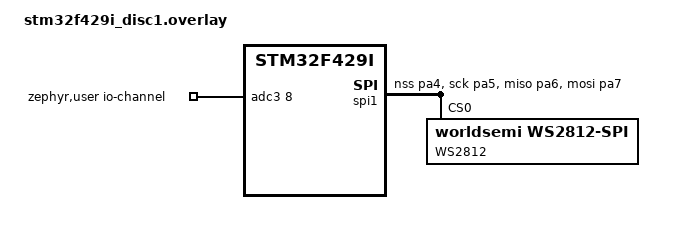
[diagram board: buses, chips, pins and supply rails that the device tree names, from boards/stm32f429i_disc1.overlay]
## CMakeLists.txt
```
# SPDX-License-Identifier: Apache-2.0

cmake_minimum_required(VERSION 3.20.0)

find_package(Zephyr REQUIRED HINTS $ENV{ZEPHYR_BASE})
project(feelights)

FILE(GLOB app_sources src/*.c)
target_sources(app PRIVATE ${app_sources})
```

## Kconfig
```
# Copyright (c) 2021 Nordic Semiconductor ASA
# SPDX-License-Identifier: Apache-2.0

# This Kconfig file is picked by the Zephyr build system because it is defined
# as the module Kconfig entry point (see zephyr/module.yml). You can browse
# module options by going to Zephyr -> Modules in Kconfig.
```

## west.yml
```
# Copyright (c) 2021 Nordic Semiconductor ASA
# SPDX-License-Identifier: Apache-2.0

manifest:
  self:
    path: feelights

  remotes:
    - name: zephyrproject-rtos
      url-base: https://github.com/zephyrproject-rtos      

  projects:
    - name: zephyr
      remote: zephyrproject-rtos
      revision: main
      import: true
```

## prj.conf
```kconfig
CONFIG_POLL=y
CONFIG_LOG=y
CONFIG_SPI=y
CONFIG_SPI_STM32=y
CONFIG_SPI_STM32_DMA=y
CONFIG_LED_STRIP=y
CONFIG_LED_STRIP_LOG_LEVEL_DBG=y
CONFIG_WS2812_STRIP=y
CONFIG_NEWLIB_LIBC=y
CONFIG_CMSIS_DSP=y
CONFIG_CMSIS_DSP_COMPLEXMATH=y
CONFIG_CMSIS_DSP_TRANSFORM=y

CONFIG_TIMING_FUNCTIONS=n

# CONFIG_USE_STM32_HAL_ADC=y
# CONFIG_USE_STM32_HAL_ADC_EX=y
# CONFIG_USE_STM32_HAL_DMA=y
# CONFIG_USE_STM32_HAL_DMA_EX=y
# CONFIG_USE_STM32_HAL_GPIO=y
# CONFIG_USE_STM32_HAL_CORTEX=y
```

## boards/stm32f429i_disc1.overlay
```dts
/*
 * Copyright (c) 2019, Nordic Semiconductor ASA
 *
 * SPDX-License-Identifier: Apache-2.0
 */

#include <dt-bindings/led/led.h>

#include "../stm32f429i-bindings.h"

&spi1 { /* MOSI on PA7 */
	led_strip: ws2812@0 {
		compatible = "worldsemi,ws2812-spi";
		label = "WS2812";

		/* SPI */
		reg = <0>; /* ignored, but necessary for SPI bindings */
		spi-max-frequency = <SPI_FREQ>;

		/* WS2812 */
		chain-length = <30>; /* arbitrary; change at will */
		color-mapping = <LED_COLOR_ID_GREEN
				 LED_COLOR_ID_RED
				 LED_COLOR_ID_BLUE>;
		spi-one-frame = <ONE_FRAME>;
		spi-zero-frame = <ZERO_FRAME>;
	};

   dmas = <&dma2 5 3 0x28440 0x03>,
          <&dma2 2 3 0x28480 0x03>;
   dma-names = "tx", "rx";

	pinctrl-0 = <&spi1_nss_pa4 &spi1_sck_pa5
		     &spi1_miso_pa6 &spi1_mosi_pa7>;
	pinctrl-names = "default";
	status = "okay";
};

&dma2 {
   status = "okay";
};

/ {
	aliases {
		led-strip = &led_strip;
		mic-dma = &dma2;
	};

	zephyr,user {
		/* adjust channel number according to pinmux in board.dts */
		io-channels = <&adc3 8>;
	};
};
```

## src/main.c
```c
#include <errno.h>
#include <string.h>

#define LOG_LEVEL 4
#include <logging/log.h>
LOG_MODULE_REGISTER(main);

#include <zephyr.h>
#include "fl_audioin.h"
#include "fl_events.h"
#include "fl_strip.h"
#include "fl_dsp.h"
#include "fl_lights.h"
#include "fl_button.h"

#ifdef CONFIG_TIMING_FUNCTIONS
#include <timing/timing.h>
/* TODO(kleindan)
 * Also we need a west.yml file for easier building in the future: https://github.com/kpochwala/kubot-software/blob/main/west.yml
 *
 * Samples:    11648299ns
 * Fft:        11079338ns
 * Update:       410983ns
 * Pixel:       2454577ns
 * Total       25593201ns
 */

#endif

#define NUM_SAMPLES (1024)
#define SAMPLE_INDEX_MASK  ((NUM_SAMPLES * 2) - 1)
#define NUM_OF_PIXELS (30)

internal int16_t SampleBuffer[2*NUM_SAMPLES];
internal f32 FftInput[NUM_SAMPLES];
internal f32 FftComplex[NUM_SAMPLES];
internal f32 FftOut[NUM_SAMPLES/2];
internal pixel *Pixels;

#ifdef CONFIG_TIMING_FUNCTIONS
internal uint64_t TotalCycles = 0, TotalNs = 0;
internal uint64_t SamplesCycles = 0, SamplesNs = 0;
internal uint64_t FftCycles = 0, FftNs = 0;
internal uint64_t UpdateCycles = 0, UpdateNs = 0;
internal uint64_t PixelPushCycles = 0, PixelPushNs = 0;
internal timing_t TStart, TSamplesReady, TFftDone, TUpdateDone, TPixelPushed;
internal u32 TimingCount = 0;
#endif

typedef enum {
   MODE_NORMAL,
   MODE_INSPECTION,
   MODE_BROWNOUT,
   MODE_MAX
} fl_system_mode;


internal void           ModeNormalOnEnter();
internal fl_system_mode ModeNormalOnEvent(fl_event Event);
internal void           ModeNormalOnLeave();

internal void           ModeInspectionOnEnter();
internal fl_system_mode ModeInspectionOnEvent(fl_event Event);
internal void           ModeInspectionOnLeave();

internal void           ModeBrownOutOnEnter();
internal fl_system_mode ModeBrownOutOnEvent(fl_event Event);
internal void           ModeBrownOutOnLeave();

typedef fl_system_mode (*mode_event_handler_t)(fl_event);
typedef void (*mode_enter_handler_t)();
typedef void (*mode_leave_handler_t)();

typedef struct {
   mode_enter_handler_t OnEnter;
   mode_event_handler_t OnEvent;
   mode_leave_handler_t OnLeave;
} mode_functions;

internal u32 ModeTimeouts[MODE_MAX] = {
   60,
   0,
   2000
};

internal mode_functions ModeHandlers[MODE_MAX] = {
   {
      .OnEnter = ModeNormalOnEnter,
      .OnEvent = ModeNormalOnEvent,
      .OnLeave = ModeNormalOnLeave,
   },
   {
      .OnEnter = ModeInspectionOnEnter,
      .OnEvent = ModeInspectionOnEvent,
      .OnLeave = ModeInspectionOnLeave,
   },
   {
      .OnEnter = ModeBrownOutOnEnter,
      .OnEvent = ModeBrownOutOnEvent,
      .OnLeave = ModeBrownOutOnLeave,
   },
};

internal void ModeInspectionOnEnter()
{
   static const pixel RED = {
      .Color = {
         .r = 0xff,
      },
   };

   for (int I = 0; I < NUM_OF_PIXELS; ++I)
   {
      Pixels[I].Dword = RED.Dword;
   }

   StripOutput(Pixels, NUM_OF_PIXELS);
   Pixels = StripSwapBuffer(Pixels);
}

internal fl_system_mode ModeInspectionOnEvent(fl_event Event)
{
   fl_system_mode NextMode = MODE_INSPECTION;

   static const pixel GREEN_BLUE[2] = {
      {
         .Color = {
            .g = 0xff,
         },
      },
      {
         .Color = {
            .b = 0xff,
         },
      },
   };
   static u32 CurrentColor = 0;

   switch (Event)
   {
      case EV_PERIODIC_FRAME:
         break;
      case EV_AUDIO_SAMPLES_AVAILABLE:
         break;
      case EV_BUTTON_PRESSED:
         break;
      case EV_BUTTON_RELEASED:
         if (CurrentColor >= 2)
         {
            NextMode = MODE_BROWNOUT;
            CurrentColor = 0;
         }
         else
         {
            for (int I = 0; I < NUM_OF_PIXELS; ++I)
            {
               Pixels[I].Dword = GREEN_BLUE[CurrentColor].Dword;
            }
            CurrentColor++;

            StripOutput(Pixels, NUM_OF_PIXELS);
            Pixels = StripSwapBuffer(Pixels);
         }
         break;
      default:
         break;
   }

   return NextMode;
}

internal void ModeInspectionOnLeave()
{
   /* Nothing to do really? */
}

internal void ModeBrownOutOnEnter()
{
   static const pixel ALL = {
      .Color = {
         .r = 0xff,
         .g = 0xff,
         .b = 0xff,
      },
   };

   for (int I = 0; I < NUM_OF_PIXELS; ++I)
   {
      Pixels[I].Dword = ALL.Dword;
   }
   Pixels = StripSwapBuffer(Pixels);
   for (int I = 0; I < NUM_OF_PIXELS; ++I)
   {
      if ((I % 2) == 0)
      {
         Pixels[I].Dword = ALL.Dword;
      }
      else
      {
         Pixels[I].Dword = 0;
      }
   }

   Pixels = StripSwapBuffer(Pixels);
   StripOutput(Pixels, NUM_OF_PIXELS);
   Pixels = StripSwapBuffer(Pixels);

   EventsStartPeriodicEvent(1000);
}

internal fl_system_mode ModeBrownOutOnEvent(fl_event Event)
{
   fl_system_mode NextMode = MODE_BROWNOUT;

   switch (Event)
   {
      case EV_PERIODIC_FRAME:
         StripOutput(Pixels, NUM_OF_PIXELS);
         Pixels = StripSwapBuffer(Pixels);
         break;
      case EV_AUDIO_SAMPLES_AVAILABLE:
         break;
      case EV_BUTTON_PRESSED:
         break;
      case EV_BUTTON_RELEASED:
         NextMode = MODE_NORMAL;
         break;
      default:
         break;
   }

   return NextMode;
}

internal void ModeBrownOutOnLeave()
{
   EventsStopPeriodicEvent();
}

internal void ModeNormalOnEnter()
{
#ifdef CONFIG_TIMING_FUNCTIONS
   timing_init();
   timing_start();
   TStart = timing_counter_get();
#endif
   for (int I = 0; I < NUM_OF_PIXELS; ++I)
   {
      Pixels[I].Dword = 0;
   }
   StripOutput(Pixels, NUM_OF_PIXELS);
   Pixels = StripSwapBuffer(Pixels);
   AudioInStart();

}
internal void ModeNormalOnLeave()
{
   AudioInStop();
#ifdef CONFIG_TIMING_FUNCTIONS
   timing_stop();
#endif
}

internal inline fl_system_mode ModeNormalOnEvent(fl_event Event)
{
   static u32 AudioSampleIndex = 0;
   fl_system_mode NextMode = MODE_NORMAL;

   switch (Event)
   {
      case EV_PERIODIC_FRAME:
         break;
      case EV_AUDIO_SAMPLES_AVAILABLE:
#ifdef CONFIG_TIMING_FUNCTIONS
         TSamplesReady = timing_counter_get();
#endif
         DspNormalizeSamples(&SampleBuffer[AudioSampleIndex], NUM_SAMPLES, FftInput);
         DspCalculateSpectrum(FftInput, NUM_SAMPLES, FftComplex, FftOut);
         AudioSampleIndex = (AudioSampleIndex + NUM_SAMPLES) & SAMPLE_INDEX_MASK;
#ifdef CONFIG_TIMING_FUNCTIONS
         TFftDone = timing_counter_get();
#endif

         LightsUpdateAndRender(Pixels, NUM_OF_PIXELS, FftOut, NUM_SAMPLES);
#ifdef CONFIG_TIMING_FUNCTIONS
         TUpdateDone = timing_counter_get();
#endif

         StripOutput(Pixels, NUM_OF_PIXELS);
         Pixels = StripSwapBuffer(Pixels);
#ifdef CONFIG_TIMING_FUNCTIONS
         TPixelPushed = timing_counter_get();
         timing_stop();
#endif
#ifdef CONFIG_TIMING_FUNCTIONS
         SamplesCycles     = timing_cycles_get(&TStart, &TSamplesReady);
         FftCycles         = timing_cycles_get(&TSamplesReady, &TFftDone);
         UpdateCycles      = timing_cycles_get(&TFftDone, &TUpdateDone);
         PixelPushCycles   = timing_cycles_get(&TUpdateDone, &TPixelPushed);
         TotalCycles       = timing_cycles_get(&TStart, &TPixelPushed);

         SamplesNs        += timing_cycles_to_ns(SamplesCycles);
         FftNs            += timing_cycles_to_ns(FftCycles);
         UpdateNs         += timing_cycles_to_ns(UpdateCycles);
         PixelPushNs      += timing_cycles_to_ns(PixelPushCycles);
         TotalNs          += timing_cycles_to_ns(TotalCycles);

         TimingCount = (TimingCount + 1) & 0xFF;
         if (0 == TimingCount)
         {
            SamplesNs    >>= 8;
            FftNs        >>= 8;
            UpdateNs     >>= 8;
            PixelPushNs  >>= 8;
            TotalNs      >>= 8;

            LOG_INF("Samples: %lldns, Fft: %lldns, Update: %lldns, Pixel: %lldns, Total %lldns", SamplesNs, FftNs, UpdateNs, PixelPushNs, TotalNs);

            SamplesNs    = 0;
            FftNs        = 0;
            UpdateNs     = 0;
            PixelPushNs  = 0;
            TotalNs      = 8;
         }

         timing_start();
         TStart = timing_counter_get();
#endif
         break;
      case EV_BUTTON_PRESSED:
         break;
      case EV_BUTTON_RELEASED:
         NextMode = MODE_INSPECTION;
         break;
      default:
         break;
   }

   return NextMode;
}

void main(void)
{
   Pixels = StripGetBuffer();

   EventsInit();
   StripInit();
   LightsInit();
   ButtonInit();
   AudioInInit(SampleBuffer, sizeof(SampleBuffer));

   StripOutput(Pixels, NUM_OF_PIXELS);
   Pixels = StripSwapBuffer(Pixels);

   fl_system_mode CurrentMode = MODE_NORMAL;
   ModeHandlers[CurrentMode].OnEnter();

	while (1) {
      fl_event Event = WaitForEvent(ModeTimeouts[CurrentMode]);

      fl_system_mode NextMode = ModeHandlers[CurrentMode].OnEvent(Event);

      if (NextMode != CurrentMode)
      {
         ModeHandlers[CurrentMode].OnLeave();
         CurrentMode = NextMode;
         ModeHandlers[CurrentMode].OnEnter();
      }
	}
}
```

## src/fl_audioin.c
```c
#include "fl_common.h"
#include "fl_audioin.h"

#include "zephyr.h"
#include <drivers/adc.h>
#include <drivers/dma.h>
#include <drivers/dma/dma_stm32.h>
#include <device.h>

#include "stm32f4xx_ll_adc.h"
#include "stm32f4xx_ll_bus.h"
#include "stm32f4xx_ll_dma.h"
#include "stm32f4xx_ll_gpio.h"
#include "stm32f4xx_ll_rcc.h"
#include "stm32f4xx_ll_tim.h"

#define LOG_LEVEL 4
#include <logging/log.h>
LOG_MODULE_REGISTER(audioin);

internal void AdcDmaConfig(u16* Data, u32 size);
internal inline void ActivateAdc(ADC_TypeDef* Adc);
internal inline void EnableAdcChannel(ADC_TypeDef* Adc, u32 Channel, u32 Rank);
internal inline void StartAdc(ADC_TypeDef* Adc);
internal inline void StopAdc(ADC_TypeDef* Adc);
internal void AdcConfig(ADC_TypeDef* Adc, uint32_t TimerTriggerId, uint32_t AdcPeriphId);
internal void Adc3Init(u16* Data, u32 BufferSize);

#define DMA_NODE		DT_ALIAS(mic_dma)
internal const struct device *DmaDevice = DEVICE_DT_GET(DMA_NODE);

internal void TIM2IrqHandler()
{
   if (LL_TIM_IsActiveFlag_UPDATE(TIM2) == 1)
   {
      // Clear the update interrupt flag
      LL_TIM_ClearFlag_UPDATE(TIM2);
   }
}

internal void ADCIrqHandler()
{
   if (LL_ADC_IsActiveFlag_OVR(ADC1) != 0)
   {
      LL_ADC_ClearFlag_OVR(ADC1);
      LOG_ERR("ADC1 overdflow");
   }

   if (LL_ADC_IsActiveFlag_OVR(ADC2) != 0)
   {
      LL_ADC_ClearFlag_OVR(ADC2);
      LOG_ERR("ADC2 overdflow");
   }

   if (LL_ADC_IsActiveFlag_OVR(ADC3) != 0)
   {
      LL_ADC_ClearFlag_OVR(ADC3);
      LOG_ERR("ADC3 overdflow");
   }
}

u32 AudioInInit(u16* Buffer, u32 BufferSize)
{
   // Timer config 
   u32 Tim2ClockFrequency = 200000;
   u32 SamplingFrequency = 40000;
   u32 TimerClock = CONFIG_SYS_CLOCK_HW_CYCLES_PER_SEC / 2;
   u32 Result = 0;

   LL_APB1_GRP1_EnableClock(LL_APB1_GRP1_PERIPH_TIM2);
   LL_TIM_SetPrescaler(TIM2, __LL_TIM_CALC_PSC(TimerClock, Tim2ClockFrequency));
   LL_TIM_SetAutoReload(TIM2, __LL_TIM_CALC_ARR(TimerClock, LL_TIM_GetPrescaler(TIM2), SamplingFrequency));

   IRQ_CONNECT(TIM2_IRQn, 0, TIM2IrqHandler, NULL, 0);
   irq_enable(TIM2_IRQn);

   Adc3Init(Buffer, BufferSize);

   LL_AHB1_GRP1_EnableClock(LL_AHB1_GRP1_PERIPH_GPIOF);
   LL_GPIO_SetPinMode(GPIOF, LL_GPIO_PIN_10, LL_GPIO_MODE_ANALOG);

   EnableAdcChannel(ADC3, LL_ADC_CHANNEL_8, LL_ADC_REG_RANK_1);

   StartAdc(ADC3);
   LL_TIM_EnableCounter(TIM2);
   LL_TIM_GenerateEvent_UPDATE(TIM2);

   return Result;
}

internal void DmaCallback(const struct device *Dev, void *UserData, uint32_t Channel, int Status)
{
   EventEmit(EV_AUDIO_SAMPLES_AVAILABLE);
}

internal void AdcDmaConfig(u16* Data, u32 BufferSize)
{
   int ReturnCode = 0;

   struct dma_block_config BlockConfig = {
      .source_address = LL_ADC_DMA_GetRegAddr(ADC3, LL_ADC_DMA_REG_REGULAR_DATA),
      .dest_address = (u32)Data,
      .source_gather_interval = 0,
      .dest_scatter_interval = 0,
      .dest_scatter_count = 0,
      .source_gather_count = 0,
      .block_size = BufferSize,
      .next_block = NULL,
      .source_gather_en = 0,
      .dest_scatter_en = 0,
      .source_addr_adj = DMA_ADDR_ADJ_NO_CHANGE,
      .dest_addr_adj = DMA_ADDR_ADJ_INCREMENT,
      .source_reload_en = 1,
      .dest_reload_en = 1,
      .fifo_mode_control = 0,
      .flow_control_mode = 0,
   };
   struct dma_config DevConfig = {
      .dma_slot = 2,
      .channel_direction = PERIPHERAL_TO_MEMORY,
      .complete_callback_en = 1,
      .error_callback_en = 1,
      .source_handshake = 0, /* HW, probably ignored param */
      .dest_handshake = 1, /* SW, probably ignored param */
      .channel_priority = 0x0, /* Low prio, tbd if this is ok */
      .source_chaining_en = 0, /* ignored? */
      .dest_chaining_en = 0, /* ignored? */
      .linked_channel = 0, /* ignored? */
      .source_data_size = 2,
      .dest_data_size = 2,
      .source_burst_length = 1,
      .dest_burst_length = 1,
      .block_count = 1,
      .user_data = NULL,
      .dma_callback = DmaCallback,
      .head_block = &BlockConfig,
   };

   ReturnCode = dma_config(DmaDevice, 1, &DevConfig);
   if (ReturnCode != 0)
   {
      LOG_ERR("Dma config failed %d", ReturnCode);
   }
   ReturnCode = dma_start(DmaDevice, 1);
   if (ReturnCode != 0)
   {
      LOG_ERR("Dma start failed %d", ReturnCode);
   }

}

#if 0
internal void AdcDmaConfig(u16* Data, u32 Size)
{
   // Configuration of NVIC
   // Configure NVIC to enable DMA interruptions
   IRQ_CONNECT(DMA2_Stream1_IRQn, 0, DMA2Stream1IrqHandler, NULL, 0);
   irq_enable(DMA2_Stream1_IRQn);
   /*
   NVIC_SetPriority(DMA2_Stream1_IRQn, 1);  // DMA IRQ lower priority than ADC IRQ
   NVIC_EnableIRQ(DMA2_Stream1_IRQn);
   */

   // Configuration of DMA
   // Enable the peripheral clock of DMA
   LL_AHB1_GRP1_EnableClock(LL_AHB1_GRP1_PERIPH_DMA2);

   LL_DMA_SetChannelSelection(DMA2, LL_DMA_STREAM_1, LL_DMA_CHANNEL_2);

   // Configure the DMA transfer
   //    - DMA transfer in circular mode to match with ADC configuration:
   //      DMA unlimited requests.
   //    - DMA transfer from ADC without address increment.
   //    - DMA transfer to memory with address increment.
   //    - DMA transfer from ADC by half-word to match with ADC configuration:
   //      ADC resolution 12 bits.
   //    - DMA transfer to memory by half-word to match with ADC conversion data
   //      buffer variable type: half-word.

   LL_DMA_ConfigTransfer(
         DMA2,
         LL_DMA_STREAM_1,
         LL_DMA_DIRECTION_PERIPH_TO_MEMORY |
         LL_DMA_MODE_CIRCULAR              |
         LL_DMA_PERIPH_NOINCREMENT         |
         LL_DMA_MEMORY_INCREMENT           |
         LL_DMA_PDATAALIGN_HALFWORD        |
         LL_DMA_MDATAALIGN_HALFWORD        |
         LL_DMA_PRIORITY_HIGH
         );

   // Set DMA transfer addresses of source and destination
   LL_DMA_ConfigAddresses(
         DMA2,
         LL_DMA_STREAM_1,
         LL_ADC_DMA_GetRegAddr(ADC3, LL_ADC_DMA_REG_REGULAR_DATA),
         (uint32_t)Data,
         LL_DMA_DIRECTION_PERIPH_TO_MEMORY
         );

   // Set DMA transfer size
   LL_DMA_SetDataLength(DMA2, LL_DMA_STREAM_1, Size);

   // Enable DMA transfer interruption: transfer complete
   LL_DMA_EnableIT_TC(DMA2, LL_DMA_STREAM_1);

   // Enable DMA transfer interruption: half transfer
   LL_DMA_EnableIT_HT(DMA2, LL_DMA_STREAM_1);

   // Enable DMA transfer interruption: transfer error
   LL_DMA_EnableIT_TE(DMA2, LL_DMA_STREAM_1);

   // Activation of DMA
   // Enable the DMA transfer
   LL_DMA_EnableStream(DMA2, LL_DMA_STREAM_1);
}
#endif

internal inline void ActivateAdc(ADC_TypeDef* Adc)
{
   // ADC must be disabled at this point
   if (LL_ADC_IsEnabled(Adc) != 0)
   {
      LOG_ERR("ADC should not be already eanbled");
   }

   // Enable ADC
   LL_ADC_Enable(Adc);
}

internal inline void EnableAdcChannel(ADC_TypeDef* Adc, u32 Channel, u32 Rank)
{
   // Set ADC group regular sequence: Channel on the selected sequence Rank.
   LL_ADC_REG_SetSequencerRanks(Adc, Rank, Channel);
   LL_ADC_SetChannelSamplingTime(Adc, Channel, LL_ADC_SAMPLINGTIME_15CYCLES);
}

internal inline void StartAdc(ADC_TypeDef* Adc)
{
   if (LL_ADC_IsEnabled(Adc))
   {
      LL_ADC_REG_StartConversionExtTrig(Adc, LL_ADC_REG_TRIG_EXT_RISING);
   }
}

internal inline void StopAdc(ADC_TypeDef* Adc)
{
   if (LL_ADC_IsEnabled(Adc))
   {
      LL_ADC_REG_StopConversionExtTrig(Adc);
   }
}

internal void AdcConfig(
      ADC_TypeDef* Adc,
      uint32_t TimerTriggerId,
      uint32_t AdcPeriphId
   )
{
   // Configuration of NVIC
   // Configure NVIC to enable ADC interruptions
   IRQ_CONNECT(ADC_IRQn, 0, ADCIrqHandler, NULL, 0);
   irq_enable(ADC_IRQn);

   // Enable ADC clock (core clock)
   LL_APB2_GRP1_EnableClock(AdcPeriphId);

   static bool AdcCommonInitialized = false;

   if (!AdcCommonInitialized)
   {
      // ADC common instance must not be enabled at this point
      if (__LL_ADC_IS_ENABLED_ALL_COMMON_INSTANCE() != 0)
      {
         LOG_ERR("ADC Common instance already initialized");
      }

      // Set ADC clock (conversion clock) common to several ADC instances
      LL_ADC_SetCommonClock(__LL_ADC_COMMON_INSTANCE(Adc), LL_ADC_CLOCK_SYNC_PCLK_DIV2);

      AdcCommonInitialized = true;
   }

   // ADC must not be enabled at this point
   if (LL_ADC_IsEnabled(Adc) != 0)
   {
      LOG_ERR("ADC should not be enabled yet");
   }

   // Set ADC data resolution
   LL_ADC_SetResolution(Adc, LL_ADC_RESOLUTION_12B);

   // Set ADC conversion data alignment
   LL_ADC_SetResolution(Adc, LL_ADC_DATA_ALIGN_RIGHT);

   // Set Set ADC sequencers scan mode, for all ADC groups
   // (group regular, group injected).
   LL_ADC_SetSequencersScanMode(Adc, LL_ADC_SEQ_SCAN_DISABLE);

   // Set ADC group regular trigger source
   LL_ADC_REG_SetTriggerSource(Adc, TimerTriggerId);

   // Set ADC group regular trigger polarity
   // LL_ADC_REG_SetTriggerEdge(Adc, LL_ADC_REG_TRIG_EXT_RISING);

   // Set ADC group regular continuous mode
   LL_ADC_REG_SetContinuousMode(Adc, LL_ADC_REG_CONV_SINGLE);

   // Set ADC group regular conversion data transfer
   LL_ADC_REG_SetDMATransfer(Adc, LL_ADC_REG_DMA_TRANSFER_UNLIMITED);

   // Set ADC group regular sequencer length and scan direction
   LL_ADC_REG_SetSequencerLength(Adc, LL_ADC_REG_SEQ_SCAN_DISABLE);

   // Set ADC group regular sequencer discontinuous mode
   // LL_ADC_REG_SetSequencerDiscont(Adc, LL_ADC_REG_SEQ_DISCONT_DISABLE);

   // Enable interruption ADC group regular overrun
   LL_ADC_EnableIT_OVR(Adc);
}

internal void Adc3Init(u16* Data, u32 BufferSize)
{
   AdcDmaConfig(Data, BufferSize);

   AdcConfig(ADC3, LL_ADC_REG_TRIG_EXT_TIM2_TRGO, LL_APB2_GRP1_PERIPH_ADC3);

   ActivateAdc(ADC3);

   // Set timer the trigger output (TRGO)
   LL_TIM_SetTriggerOutput(TIM2, LL_TIM_TRGO_UPDATE);
}
```

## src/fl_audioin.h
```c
#ifndef FL_AUDIOIN_H__
#define FL_AUDIOIN_H__

#include "fl_common.h"
#include "fl_events.h"

u32 AudioInInit(u16* Buffer, u32 BufferSize);
u32 AudioInStart();
u32 AudioInStop();

#endif // FL_AUDIOIN_H__
```

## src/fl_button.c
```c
#include "fl_common.h"
#include "fl_button.h"
#include "fl_events.h"

#include <zephyr.h>
#include <device.h>
#include <drivers/gpio.h>

#define LOG_LEVEL 4
#include <logging/log.h>
LOG_MODULE_REGISTER(button);

/*
 * Get button configuration from the devicetree sw0 alias. This is mandatory.
 */
#define SW0_NODE DT_ALIAS(sw0)
#if !DT_NODE_HAS_STATUS(SW0_NODE, okay)
#error "Unsupported board: sw0 devicetree alias is not defined"
#endif

internal const struct gpio_dt_spec ButtonSpec = GPIO_DT_SPEC_GET_OR(SW0_NODE, gpios, {0});
internal struct gpio_callback ButtonCbData;
internal struct k_timer DebounceTimer;

internal void PressReleaseHandler(struct k_timer *dummy)
{
   EventEmit(ButtonIsPressed() ? EV_BUTTON_PRESSED : EV_BUTTON_RELEASED);
}

internal void ButtonChangeHandler(const struct device *dev, struct gpio_callback *cb, uint32_t pins)
{
   /* wait for level to stabilize, starting a running timer will reset it */
   k_timer_start(&DebounceTimer, K_MSEC(5), K_NO_WAIT);
}

u32 ButtonInit()
{
	int init_error = 0;

	if (!device_is_ready(ButtonSpec.port)) {
		LOG_ERR("button device %s is not ready", ButtonSpec.port->name);
	}

   if (!init_error)
   {
      init_error = gpio_pin_configure_dt(&ButtonSpec, GPIO_INPUT);
      if (init_error) {
         LOG_ERR("%d: failed to configure %s pin %d", init_error, ButtonSpec.port->name, ButtonSpec.pin);
      }
   }

   if (!init_error)
   {
      init_error = gpio_pin_interrupt_configure_dt(&ButtonSpec, GPIO_INT_EDGE_BOTH);
      if (init_error) {
         LOG_ERR("%d: failed to configure interrupt on %s pin %d", init_error, ButtonSpec.port->name, ButtonSpec.pin);
      }
   }

   if (!init_error)
   {
      gpio_init_callback(&ButtonCbData, ButtonChangeHandler, BIT(ButtonSpec.pin));
      gpio_add_callback(ButtonSpec.port, &ButtonCbData);
      LOG_INF("Set up button at %s pin %d", ButtonSpec.port->name, ButtonSpec.pin);
   }

   k_timer_init(&DebounceTimer, PressReleaseHandler, NULL);

   return init_error;
}

bool ButtonIsPressed()
{
   int State = gpio_pin_get_dt(&ButtonSpec);

   if (State < 0) {
      LOG_ERR("Error %d: reading state of %s pin %d", State, ButtonSpec.port->name, ButtonSpec.pin);
      return false;
   } 

   return State == 0;
}
```

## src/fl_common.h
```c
#ifndef FL_COMMON_H__
#define FL_COMMON_H__

#include <arm_math.h>

typedef unsigned char      u8;
typedef unsigned short     u16;
typedef unsigned int       u32;
typedef          char      i8;
typedef          int       i32;
typedef          float32_t f32;

#define ArrayCount(Array) (sizeof(Array)/sizeof(Array[0]))

#define Maximum(A, B) ((A) < (B) ? (B) : (A))
#define Minimum(A, B) ((A) < (B) ? (A) : (B))

#define internal static

internal inline f32 Square(f32 A) {
   return A*A;
}

internal inline f32 Abs(f32 A) {
   return A >= 0 ? A : -A;
}

internal inline f32 Clamp(f32 Min, f32 A, f32 Max) {
   return Maximum(Minimum(A, Max), Min);
}

internal inline i32 Round(f32 A) {
   return (i32)(A + 0.5f);
}

internal inline f32 Lerp(f32 A, f32 t, f32 B) {
   return (1 - t) * A + t * B;
}

internal inline f32 Sine(f32 V) {
   return arm_sin_f32(V);
}

#endif
```

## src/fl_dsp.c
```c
#include "fl_common.h"
#include "fl_dsp.h"
#include "arm_math.h"

#define LOG_LEVEL 4
#include <logging/log.h>
LOG_MODULE_REGISTER(dsp);


u32 DspCalculateSpectrum(f32 *Input, u32 NumSamples, f32 *IntermediateBuffer, f32 *Output)
{
   const f32 FfftScalingFactor = 1.0f / 453.352f;
   arm_rfft_fast_instance_f32 fft;

   arm_rfft_fast_init_f32(&fft, NumSamples);
   arm_rfft_fast_f32(&fft, Input, IntermediateBuffer, 0);
   arm_cmplx_mag_f32(IntermediateBuffer, Output, NumSamples/2);

   static f32 MaxSpectrum = -32000.0f;
   static f32 MinSpectrum = 32000.0f;
   for (int i = 1; i < NumSamples/2; ++i)
   {
      Output[i] *= FfftScalingFactor;
      if (Output[i] > MaxSpectrum) MaxSpectrum = Output[i];
      if (Output[i] < MinSpectrum) MinSpectrum = Output[i];
   }
#if 0
   static u32 DebugCount = 0;
   if (DebugCount++ > 100)
   {
      LOG_INF("MinS: %d, MaxS: %d:", (i32)(MinSpectrum * 1000.0f), (i32)(MaxSpectrum * 1000.0f));
      DebugCount = 0;
   }
#endif
   

   /* TODO(kleindan) Check for error from CMSIS */
   return 0;
}

u32 DspNormalizeSamples(u16 *RawSamples, u32 NumSamples, f32 *Output)
{
   u16 MinSample = 0xffff;
   u16 MaxSample = 0x0000;
   u32 SamplesSum = 0;
   f32 MinSampleF = 0.0f;
   f32 MaxSampleF = 0.0f;
   f32 Mean = 0;

   for (int i = 0; i < NumSamples; ++i)
   {
      SamplesSum += RawSamples[i];
      if (RawSamples[i] < MinSample) MinSample = RawSamples[i];
      if (RawSamples[i] > MaxSample) MaxSample = RawSamples[i];
   }
   Mean = ((f32) SamplesSum) / ((f32) NumSamples);

#if 0
   static u32 DebugCount = 0;
   if (DebugCount++ > 100)
   {
      LOG_INF("Min: %d, Max: %d:, Mean %d", MinSample, MaxSample, (u32)(Mean * 1000.f));
      DebugCount = 0;
   }
#endif

   u16 RangeLo = (u16)Mean - MinSample;
   u16 RangeHi = MaxSample - (u16)Mean;
   u16 Range = Maximum(RangeLo, RangeHi);
   f32 NormalizationFactor = 1.0/Clamp(800.0f, (f32)Range, 2048);
   for (int i = 0; i < NumSamples; ++i)
   {
      Output[i] = NormalizationFactor * (((f32) RawSamples[i]) - Mean);
      if (Output[i] < MinSampleF) MinSampleF = Output[i];
      if (Output[i] > MaxSampleF) MaxSampleF = Output[i];
   }
#if 0
   static u32 DebugCount = 0;
   if (DebugCount++ > 100)
   {
      LOG_INF("Minf: %d, Maxf: %d:", (i32)(MinSampleF * 1000.0f), (i32)(MaxSampleF * 1000.0f));
      DebugCount = 0;
   }
#endif

   /* TODO(kleindan) Check for error from CMSIS */
   return 0;
}
```

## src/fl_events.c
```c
#include "fl_common.h"
#include "fl_events.h"
#include "zephyr.h"

#define LOG_LEVEL 4
#include <logging/log.h>
LOG_MODULE_REGISTER(events);

struct k_poll_signal OsSiglnals[EV_MAX_IDX];

struct k_poll_event OsEvents[EV_MAX_IDX];

internal struct k_timer PeriodicTimer;

internal void PeriodicTimerHandler(struct k_timer * Timer)
{
   k_poll_signal_raise(&OsSiglnals[EV_PERIODIC_FRAME], 0);
}


u32 EventsInit()
{
   for (fl_event Event = EV_START_IDX; Event < EV_MAX_IDX; Event++)
   {
      k_poll_event_init(&OsEvents[Event],
                        K_POLL_TYPE_SIGNAL,
                        K_POLL_MODE_NOTIFY_ONLY,
                        &OsSiglnals[Event]);

      /* TODO(kleindan) errors?! */
      k_poll_signal_init(&OsSiglnals[Event]);
   }

   /* TODO(kleindan) errors?! */
   k_timer_init(&PeriodicTimer, PeriodicTimerHandler, 0);

   return 0;
}

u32 EventsStartPeriodicEvent(u32 MsTimeout)
{
   k_timer_start(&PeriodicTimer, K_MSEC(MsTimeout), K_MSEC(MsTimeout));
   return 0;
}

u32 EventsStopPeriodicEvent()
{
   k_timer_stop(&PeriodicTimer);
   return 0;
}

fl_event WaitForEvent(u32 TimeoutMs)
{
   int WaitResult = 0;
   k_timeout_t Timeout = (TimeoutMs == 0) ? K_FOREVER : K_MSEC(TimeoutMs);
   fl_event TriggeredEvent = EV_MAX_IDX;

   WaitResult = k_poll(OsEvents, ArrayCount(OsEvents), Timeout);
   switch (WaitResult) 
   {
      case 0:
         for (fl_event Event = EV_START_IDX; Event < EV_MAX_IDX; Event++)
         {
            if (OsEvents[Event].state & K_POLL_STATE_SIGNALED)
            {
               OsEvents[Event].signal->signaled = 0;
               OsEvents[Event].state = K_POLL_STATE_NOT_READY;
               TriggeredEvent = Event;
               break;
            }
         }
         break;
      case -EAGAIN:
         LOG_ERR("Unexpected polling timeout");
         break;
      default:
         LOG_ERR("Unexpected event");
         break;
   }

   return TriggeredEvent;
}

u32 EventEmit(fl_event Event)
{
   k_poll_signal_raise(&OsSiglnals[Event], 0);

   return 0;
}
```

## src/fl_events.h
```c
#ifndef FL_EVENTS_H__
#define FL_EVENTS_H__

#include <zephyr.h>
#include <kernel.h>

typedef enum {
   EV_START_IDX = 0,
   EV_AUDIO_SAMPLES_AVAILABLE = EV_START_IDX,
   EV_BUTTON_PRESSED,
   EV_BUTTON_RELEASED,
   EV_PERIODIC_FRAME,
   EV_MAX_IDX,
} fl_event;

extern struct k_poll_signal OsSiglnals[EV_MAX_IDX];

u32 EventsInit();

fl_event WaitForEvent(u32 TimeoutMs);

u32 EventsStopPeriodicEvent();

u32 EventsStartPeriodicEvent(u32 MsTimeout);

u32 EventEmit(fl_event Event);

#endif
```

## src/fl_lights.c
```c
#include "fl_common.h"
#include "fl_lights.h"

typedef enum {
   none,
   spectrum_window,
} controller_algo_t;

typedef struct {
   f32 PFreq;
   f32 RFreq;
   f32 MaxIntensity;
} algo_spectrum_window_t;

typedef struct {
   controller_algo_t Algo;
   union {
      algo_spectrum_window_t SpectrumWindow;
   } Data;
} controller_t ;

typedef struct 
{
   f32 P;
   f32 dP;
   f32 R;
   f32 dR;
   f32 Intensity;
   struct {
      f32 R;
      f32 G;
      f32 B;
   } Color;
   controller_t Controller;
} fl_orb;

#define MAX_ORBS (4)

internal fl_orb Orbs[MAX_ORBS];

u32 LightsInit()
{
   Orbs[0].P = 5.0f;
   Orbs[0].dP = 0.0f;
   Orbs[0].R = 5.5f;
   Orbs[0].dR = 0.0f;
   Orbs[0].Color.R = 0.0f;
   Orbs[0].Color.G = 0.7f;
   Orbs[0].Color.B = 0.1f;
   Orbs[0].Controller.Algo = spectrum_window;
   Orbs[0].Controller.Data.SpectrumWindow.PFreq = 9.0;
   Orbs[0].Controller.Data.SpectrumWindow.RFreq = 8.0;
   Orbs[0].Controller.Data.SpectrumWindow.MaxIntensity = 40.0f;

   Orbs[1].P =9.0f;
   Orbs[1].dP = 0.0f;
   Orbs[1].R = 6.5f;
   Orbs[1].dR = 0.0f;
   Orbs[1].Color.R = 1.0f;
   Orbs[1].Color.G = 0.1f;
   Orbs[1].Color.B = 0.2f;
   Orbs[1].Controller.Algo = spectrum_window;
   Orbs[1].Controller.Data.SpectrumWindow.PFreq = 93.0;
   Orbs[1].Controller.Data.SpectrumWindow.RFreq = 9.0;
   Orbs[1].Controller.Data.SpectrumWindow.MaxIntensity = 90.0f;

   Orbs[2].P = 20.0f;
   Orbs[2].dP = 0.0f;
   Orbs[2].R = 8.5f;
   Orbs[2].dR = 0.0f;
   Orbs[2].Color.R = 0.0f;
   Orbs[2].Color.G = 0.4f;
   Orbs[2].Color.B = 0.3f;
   Orbs[2].Controller.Algo = spectrum_window;
   Orbs[2].Controller.Data.SpectrumWindow.PFreq = 173.0;
   Orbs[2].Controller.Data.SpectrumWindow.RFreq = 12.0;
   Orbs[2].Controller.Data.SpectrumWindow.MaxIntensity = 90.0f;

   Orbs[3].P = 26.0f;
   Orbs[3].dP = 0.0f;
   Orbs[3].R = 5.5f;
   Orbs[3].dR = 0.0f;
   Orbs[3].Color.R = 1.0f;
   Orbs[3].Color.G = 0.5f;
   Orbs[3].Color.B = 0.0f;
   Orbs[3].Controller.Algo = spectrum_window;
   Orbs[3].Controller.Data.SpectrumWindow.PFreq = 223.0;
   Orbs[3].Controller.Data.SpectrumWindow.RFreq = 12.0;
   Orbs[3].Controller.Data.SpectrumWindow.MaxIntensity = 90.0f;
   return 0;
}

void LightsUpdateAndRender(pixel *Pixels, u32 NumPixels, f32 *Spectrum, u32 NumSamples)
{
   for (size_t i = 0; i < NumPixels; ++i)
   {
      Pixels[i].Dword = 0;
   }

   for (u32 IOrb = 0; IOrb < MAX_ORBS; ++IOrb)
   {
      fl_orb * Orb = &Orbs[IOrb];

      switch (Orb->Controller.Algo)
      {
         case spectrum_window:
            {
               algo_spectrum_window_t * Window = &Orb->Controller.Data.SpectrumWindow;
               f32 Intensity = 0.0f;
               i32 IFreq = (i32)ceil(Window->PFreq - Window->RFreq);
               i32 MaxIFreq = (i32)floor(Window->PFreq + Window->RFreq);
               IFreq = IFreq < 0 ? 0 : IFreq;
               MaxIFreq = MaxIFreq >= NumSamples ? NumSamples : MaxIFreq;

               for ( ; IFreq < MaxIFreq; IFreq++)
               {
                  Intensity += Spectrum[IFreq];
               }
               Intensity /= 2.0f * Window->RFreq;
               Orb->Intensity = Lerp(0, Intensity, Window->MaxIntensity);
            }
            break;
         case none:
         default:
            break;

      }
      f32 P = ceil(Orb->P - Orb->R);
      i32 MaxI = (i32)floor(Orb->P + Orb->R);
      i32 I = (i32)P;
      I = I < 0 ? 0 : I;
      MaxI = MaxI >= NumPixels ? NumPixels : MaxI;
      for ( ; I < MaxI; ++I, P += 1.0f)
      {
         f32 Dist = Abs(P - Orb->P);
         f32 Rate = Clamp(0.0f, 1.0f - (Dist/Orb->R), 1.0f);
         f32 Intensity = Round(Lerp(0, Rate, Orb->Intensity));
         Pixels[I].Color.r += (u8)(Orb->Color.R * Intensity);
         Pixels[I].Color.g += (u8)(Orb->Color.G * Intensity);
         Pixels[I].Color.b += (u8)(Orb->Color.B * Intensity);

      }
   }
}
```

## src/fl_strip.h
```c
#ifndef FL_STRIP_H__
#define FL_STRIP_H__

#include "fl_common.h"
#include <drivers/led_strip.h>

typedef union {
   u32 Dword;
   struct led_rgb Color;
} pixel;

u32 StripInit();

u32 StripOutput(pixel *Pixels, u32 NumOfPixels);

pixel* StripGetBuffer();

pixel* StripSwapBuffer(pixel *PixelBuffer);

#endif /* FL_STRIP_H__ */
```
